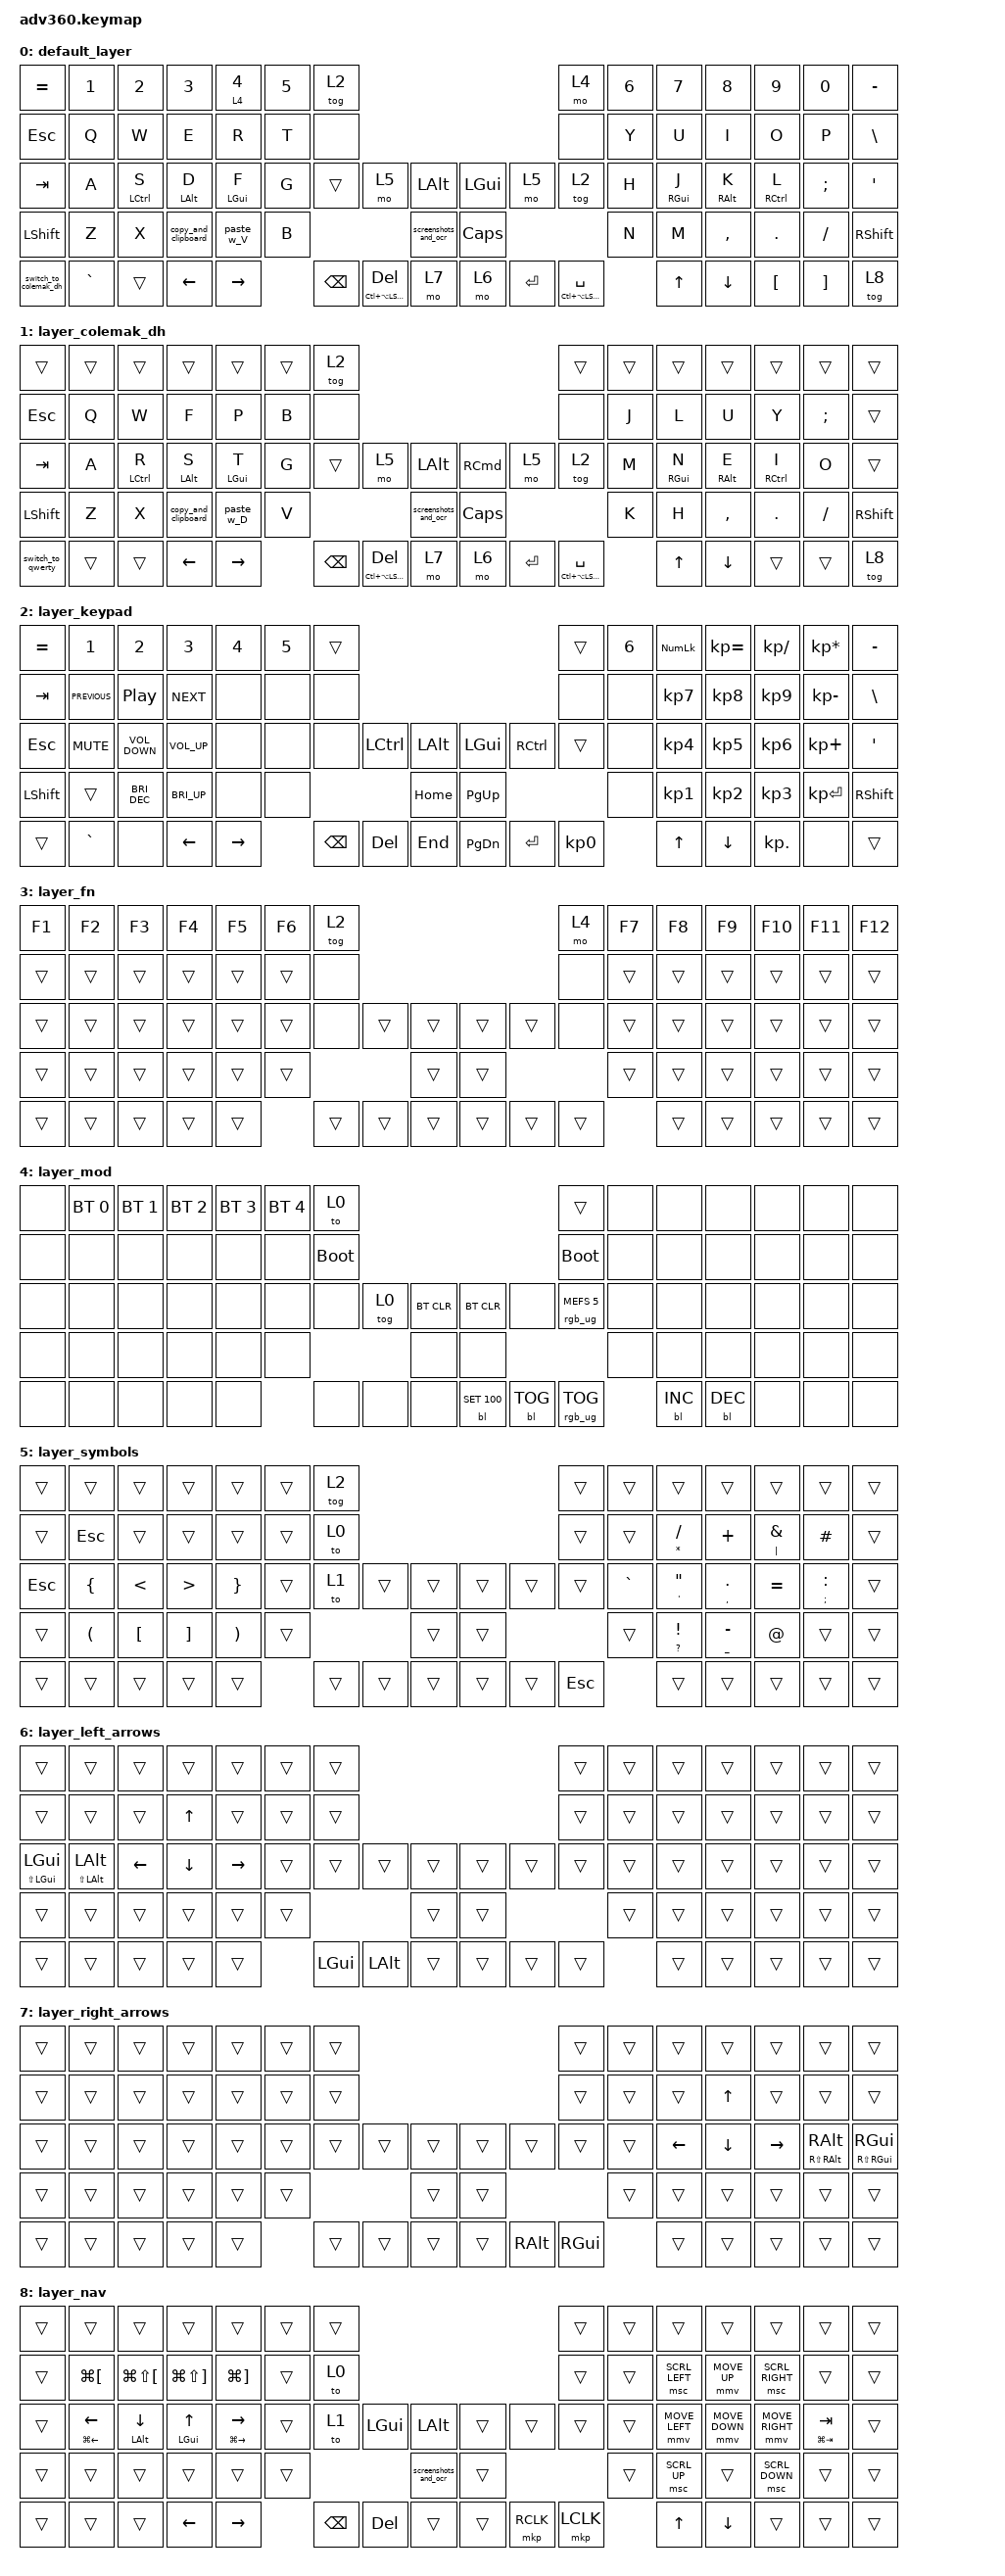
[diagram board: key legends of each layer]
#include <dt-bindings/zmk/stp.h>
#include <behaviors.dtsi>
#include <dt-bindings/zmk/backlight.h>
#include <dt-bindings/zmk/bt.h>
#include <dt-bindings/zmk/keys.h>
#include <dt-bindings/zmk/pointing.h>
#include <dt-bindings/zmk/rgb.h>

/ {
    behaviors {
        #include "macros.dtsi"

        hm: homerow_mods {
            compatible = "zmk,behavior-hold-tap";
            label = "HOMEROW_MODS";
            #binding-cells = <2>;
            tapping-term-ms = <300>;
            quick_tap_ms = <250>;
            flavor = "tap-preferred";
            bindings = <&kp>, <&kp>;
        };

        copy_and_clipboard: copy_and_clipboard {
            compatible = "zmk,behavior-tap-dance";
            label = "COPY_AND_CLIPBOARD";
            #binding-cells = <0>;
            bindings = <&mt LG(LS(C)) C>, <&kp LG(C)>;
        };

        paste_w_D: paste_w_D {
            compatible = "zmk,behavior-tap-dance";
            label = "PASTE_W_D";
            #binding-cells = <0>;
            bindings = <&kp D>, <&kp LG(V)>;
        };

        paste_w_V: paste_w_V {
            compatible = "zmk,behavior-tap-dance";
            label = "PASTE_W_V";
            #binding-cells = <0>;
            bindings = <&kp V>, <&kp LG(V)>;
        };

        screenshots_and_ocr: screenshots_and_ocr {
            compatible = "zmk,behavior-tap-dance";
            label = "SCREENSHOTS_AND_OCR";
            #binding-cells = <0>;
            bindings =
                <&mt LG(LS(NUMBER_3)) LG(LS(NUMBER_4))>,
                <&kp LG(LS(NUMBER_2))>;
        };
    };

    combos { compatible = "zmk,combos"; };

    macros {
        switch_to_colemak_dh: switch_to_colemak_dh {
            compatible = "zmk,behavior-macro";
            #binding-cells = <0>;
            bindings = <&kp CAPSLOCK>, <&macro_press>, <&to 1>;

            label = "SWITCH_TO_COLEMAK_DH";
        };

        switch_to_qwerty: switch_to_qwerty {
            compatible = "zmk,behavior-macro";
            #binding-cells = <0>;
            bindings = <&kp CAPSLOCK>, <&macro_wait_time 75>, <&to 0>;

            label = "SWITCH_TO_QWERTY";
        };
    };

    keymap {
        compatible = "zmk,keymap";

        default_layer {
            bindings = <
&kp EQUAL              &kp N1     &kp N2       &kp N3               &lt 4 N4        &kp N5  &tog 2                                                                                  &mo 4                         &kp N6  &kp N7           &kp N8           &kp N9       &kp N0    &kp MINUS
&kp ESCAPE             &kp Q      &kp W        &kp E                &kp R           &kp T   &none                                                                                   &none                         &kp Y   &kp U            &kp I            &kp O        &kp P     &kp BSLH
&kp TAB                &kp A      &hm LCTRL S  &hm LEFT_ALT D       &hm LEFT_GUI F  &kp G   &trans    &mo 5                          &kp LALT                  &kp LGUI  &mo 5      &tog 2                        &kp H   &hm RIGHT_GUI J  &hm RIGHT_ALT K  &hm RCTRL L  &kp SEMI  &kp SQT
&kp LSHFT              &kp Z      &kp X        &copy_and_clipboard  &paste_w_V      &kp B                                            &screenshots_and_ocr      &kp CAPS                                           &kp N   &kp M            &kp COMMA        &kp DOT      &kp FSLH  &kp RSHFT
&switch_to_colemak_dh  &kp GRAVE  &trans       &kp LEFT             &kp RIGHT               &kp BSPC  &mt LC(LA(LEFT_SHIFT)) DELETE  &mo 7                     &mo 6     &kp ENTER  &mt LC(LA(LEFT_SHIFT)) SPACE          &kp UP           &kp DOWN         &kp LBKT     &kp RBKT  &tog 8
            >;
        };

        layer_colemak_dh {
            bindings = <
&trans             &trans  &trans       &trans               &trans          &trans  &tog 2                                                                                       &trans                        &trans  &trans           &trans           &trans       &trans         &trans
&kp ESCAPE         &kp Q   &kp W        &kp F                &kp P           &kp B   &none                                                                                        &none                         &kp J   &kp L            &kp U            &kp Y        &kp SEMICOLON  &trans
&kp TAB            &kp A   &hm LCTRL R  &hm LEFT_ALT S       &hm LEFT_GUI T  &kp G   &trans         &mo 5                          &kp LEFT_ALT              &kp RCMD  &mo 5      &tog 2                        &kp M   &hm RIGHT_GUI N  &hm RIGHT_ALT E  &hm RCTRL I  &kp O          &trans
&kp LEFT_SHIFT     &kp Z   &kp X        &copy_and_clipboard  &paste_w_D      &kp V                                                 &screenshots_and_ocr      &kp CAPS                                           &kp K   &kp H            &kp COMMA        &kp PERIOD   &kp SLASH      &kp RIGHT_SHIFT
&switch_to_qwerty  &trans  &trans       &kp LEFT             &kp RIGHT               &kp BACKSPACE  &mt LC(LA(LEFT_SHIFT)) DELETE  &mo 7                     &mo 6     &kp ENTER  &mt LC(LA(LEFT_SHIFT)) SPACE          &kp UP           &kp DOWN         &trans       &trans         &tog 8
            >;
        };

        layer_keypad {
            bindings = <
&kp EQUAL  &kp N1          &kp N2             &kp N3           &kp N4     &kp N5  &trans                                                   &trans     &kp N6  &kp KP_NUM  &kp KP_EQUAL  &kp KP_DIVIDE  &kp KP_MULTIPLY  &kp MINUS
&kp TAB    &kp C_PREVIOUS  &kp C_PP           &kp C_NEXT       &none      &none   &none                                                    &none      &none   &kp KP_N7   &kp KP_N8     &kp KP_N9      &kp KP_MINUS     &kp BSLH
&kp ESC    &kp K_MUTE      &kp C_VOLUME_DOWN  &kp C_VOLUME_UP  &none      &none   &none     &kp LCTRL  &kp LALT      &kp LGUI   &kp RCTRL  &trans     &none   &kp KP_N4   &kp KP_N5     &kp KP_N6      &kp KP_PLUS      &kp SQT
&kp LSHFT  &trans          &kp C_BRI_DEC      &kp C_BRI_UP     &none      &none                        &kp HOME      &kp PG_UP                        &none   &kp KP_N1   &kp KP_N2     &kp KP_N3      &kp KP_ENTER     &kp RSHFT
&trans     &kp GRAVE       &none              &kp LEFT         &kp RIGHT          &kp BSPC  &kp DEL    &kp END       &kp PG_DN  &kp ENTER  &kp KP_N0          &kp UP      &kp DOWN      &kp KP_DOT     &none            &trans
            >;
        };

        layer_fn {
            bindings = <
&kp F1  &kp F2  &kp F3  &kp F4  &kp F5  &kp F6  &tog 2                                      &mo 4   &kp F7  &kp F8  &kp F9  &kp F10  &kp F11  &kp F12
&trans  &trans  &trans  &trans  &trans  &trans  &none                                       &none   &trans  &trans  &trans  &trans   &trans   &trans
&trans  &trans  &trans  &trans  &trans  &trans  &none   &trans  &trans      &trans  &trans  &none   &trans  &trans  &trans  &trans   &trans   &trans
&trans  &trans  &trans  &trans  &trans  &trans                  &trans      &trans                  &trans  &trans  &trans  &trans   &trans   &trans
&trans  &trans  &trans  &trans  &trans          &trans  &trans  &trans      &trans  &trans  &trans          &trans  &trans  &trans   &trans   &trans
            >;
        };

        layer_mod {
            bindings = <
&none  &bt BT_SEL 0  &bt BT_SEL 1  &bt BT_SEL 2  &bt BT_SEL 3  &bt BT_SEL 4  &to 0                                                            &trans                  &none  &none       &none       &none  &none  &none
&none  &none         &none         &none         &none         &none         &bootloader                                                      &bootloader             &none  &none       &none       &none  &none  &none
&none  &none         &none         &none         &none         &none         &none        &tog 0  &bt BT_CLR      &bt BT_CLR      &none       &rgb_ug RGB_MEFS_CMD 5  &none  &none       &none       &none  &none  &none
&none  &none         &none         &none         &none         &none                              &none           &none                                               &none  &none       &none       &none  &none  &none
&none  &none         &none         &none         &none                       &none        &none   &none           &bl BL_SET 100  &bl BL_TOG  &rgb_ug RGB_TOG                &bl BL_INC  &bl BL_DEC  &none  &none  &none
            >;
        };

        layer_symbols {
            bindings = <
&trans   &trans                &trans            &trans             &trans                 &trans  &tog 2                                      &trans      &trans     &trans                          &trans                &trans              &trans               &trans
&trans   &kp ESCAPE            &trans            &trans             &trans                 &trans  &to 0                                       &trans      &trans     &mt ASTRK SLASH                 &kp PLUS              &mt PIPE AMPERSAND  &kp HASH             &trans
&kp ESC  &kp LEFT_BRACE        &kp LT            &kp GREATER_THAN   &kp RIGHT_BRACE        &trans  &to 1   &trans  &trans      &trans  &trans  &trans      &kp GRAVE  &mt SINGLE_QUOTE DOUBLE_QUOTES  &mt COMMA DOT         &kp EQUAL           &mt SEMICOLON COLON  &trans
&trans   &kp LEFT_PARENTHESIS  &kp LEFT_BRACKET  &kp RIGHT_BRACKET  &kp RIGHT_PARENTHESIS  &trans                  &trans      &trans                      &trans     &mt QUESTION EXCL               &mt UNDERSCORE MINUS  &kp AT              &trans               &trans
&trans   &trans                &trans            &trans             &trans                         &trans  &trans  &trans      &trans  &trans  &kp ESCAPE             &trans                          &trans                &trans              &trans               &trans
            >;
        };

        layer_left_arrows {
            bindings = <
&trans                     &trans                 &trans    &trans    &trans     &trans  &trans                                              &trans  &trans  &trans  &trans  &trans  &trans  &trans
&trans                     &trans                 &trans    &kp UP    &trans     &trans  &trans                                              &trans  &trans  &trans  &trans  &trans  &trans  &trans
&mt LS(LEFT_GUI) LEFT_GUI  &mt LS(LALT) LEFT_ALT  &kp LEFT  &kp DOWN  &kp RIGHT  &trans  &trans    &trans        &trans      &trans  &trans  &trans  &trans  &trans  &trans  &trans  &trans  &trans
&trans                     &trans                 &trans    &trans    &trans     &trans                          &trans      &trans                  &trans  &trans  &trans  &trans  &trans  &trans
&trans                     &trans                 &trans    &trans    &trans             &kp LGUI  &kp LEFT_ALT  &trans      &trans  &trans  &trans          &trans  &trans  &trans  &trans  &trans
            >;
        };

        layer_right_arrows {
            bindings = <
&trans  &trans  &trans  &trans  &trans  &trans  &trans                                             &trans         &trans  &trans          &trans          &trans           &trans                       &trans
&trans  &trans  &trans  &trans  &trans  &trans  &trans                                             &trans         &trans  &trans          &kp UP_ARROW    &trans           &trans                       &trans
&trans  &trans  &trans  &trans  &trans  &trans  &trans  &trans  &trans      &trans  &trans         &trans         &trans  &kp LEFT_ARROW  &kp DOWN_ARROW  &kp RIGHT_ARROW  &mt RS(RIGHT_ALT) RIGHT_ALT  &mt RS(RIGHT_GUI) RIGHT_GUI
&trans  &trans  &trans  &trans  &trans  &trans                  &trans      &trans                                &trans  &trans          &trans          &trans           &trans                       &trans
&trans  &trans  &trans  &trans  &trans          &trans  &trans  &trans      &trans  &kp RIGHT_ALT  &kp RIGHT_GUI          &trans          &trans          &trans           &trans                       &trans
            >;
        };

        layer_nav {
            bindings = <
&trans  &trans             &trans                    &trans                     &trans                 &trans  &trans                                                                    &trans     &trans  &trans          &trans          &trans           &trans           &trans
&trans  &kp LG(LBKT)       &kp LG(LS(LEFT_BRACKET))  &kp LG(LS(RIGHT_BRACKET))  &kp LG(RIGHT_BRACKET)  &trans  &to 0                                                                     &trans     &trans  &msc SCRL_LEFT  &mmv MOVE_UP    &msc SCRL_RIGHT  &trans           &trans
&trans  &mt LG(LEFT) LEFT  &hm LEFT_ALT DOWN         &hm LEFT_GUI UP            &mt LG(RIGHT) RIGHT    &trans  &to 1          &kp LEFT_GUI  &kp LEFT_ALT              &trans  &trans     &trans     &trans  &mmv MOVE_LEFT  &mmv MOVE_DOWN  &mmv MOVE_RIGHT  &mt LG(TAB) TAB  &trans
&trans  &trans             &trans                    &trans                     &trans                 &trans                               &screenshots_and_ocr      &trans                        &trans  &msc SCRL_UP    &trans          &msc SCRL_DOWN   &trans           &trans
&trans  &trans             &trans                    &kp LEFT                   &kp RIGHT                      &kp BACKSPACE  &kp DELETE    &trans                    &trans  &mkp RCLK  &mkp LCLK          &kp UP          &kp DOWN        &trans           &trans           &trans
            >;
        };
    };
};
